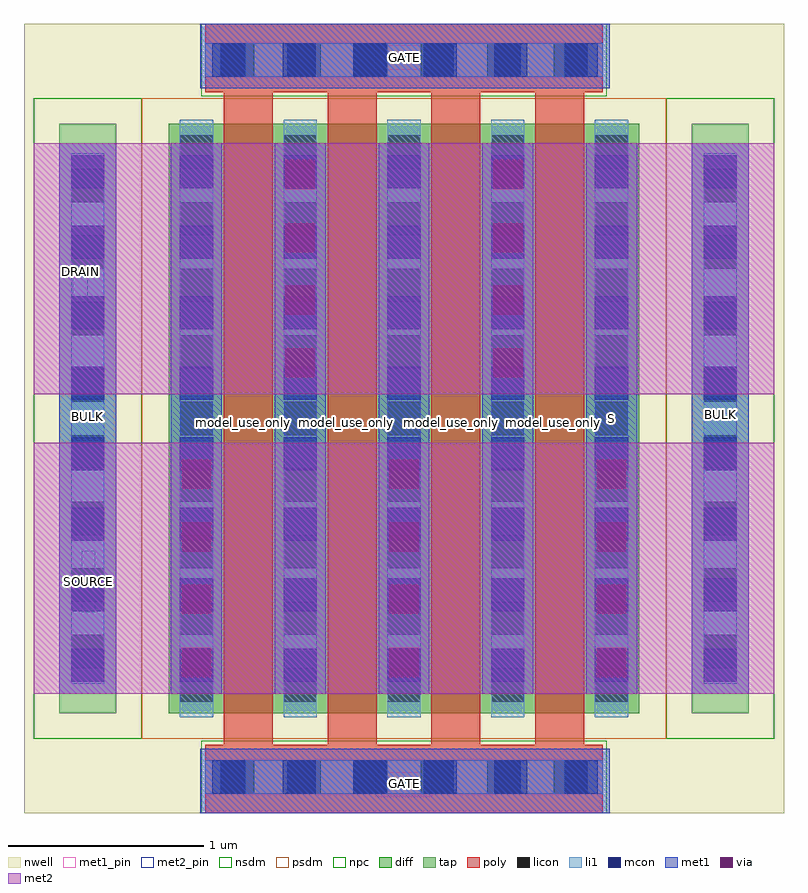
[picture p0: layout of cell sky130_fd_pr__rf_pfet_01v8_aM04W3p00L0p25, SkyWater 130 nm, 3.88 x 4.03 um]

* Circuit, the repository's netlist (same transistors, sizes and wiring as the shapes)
* Copyright 2020 The SkyWater PDK Authors
*
* Licensed under the Apache License, Version 2.0 (the "License");
* you may not use this file except in compliance with the License.
* You may obtain a copy of the License at
*
*     https://www.apache.org/licenses/LICENSE-2.0
*
* Unless required by applicable law or agreed to in writing, software
* distributed under the License is distributed on an "AS IS" BASIS,
* WITHOUT WARRANTIES OR CONDITIONS OF ANY KIND, either express or implied.
* See the License for the specific language governing permissions and
* limitations under the License.
*
* SPDX-License-Identifier: Apache-2.0


.subckt sky130_fd_pr__rf_pfet_01v8_aM04W3p00L0p25 BULK DRAIN GATE SOURCE
X0 SOURCE GATE DRAIN BULK sky130_fd_pr__pfet_01v8 w=3.01e+06u l=250000u
X1 SOURCE GATE DRAIN BULK sky130_fd_pr__pfet_01v8 w=3.01e+06u l=250000u
X2 DRAIN GATE SOURCE BULK sky130_fd_pr__pfet_01v8 w=3.01e+06u l=250000u
X3 DRAIN GATE SOURCE BULK sky130_fd_pr__pfet_01v8 w=3.01e+06u l=250000u
.ends

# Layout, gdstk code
import gdstk
lib = gdstk.Library(unit=1e-6, precision=1e-09)
def R(c, l, rs):  # rectangles x0, y0, x1, y1
    for r in rs: c.add(gdstk.rectangle(r[:2], r[2:], *l))
def A(c, l, x, y, w, h, nx, ny, dx, dy):  # array of equal rectangles
    R(c, l, [(x+i*dx, y+j*dy, x+i*dx+w, y+j*dy+h) for i in range(nx) for j in range(ny)])
nwell = (64, 20)
diff = (65, 20)
tap = (65, 44)
poly = (66, 20)
licon = (66, 44)
li1 = (67, 20)
mcon = (67, 44)
met1_pin = (68, 16)
met1 = (68, 20)
via = (68, 44)
met2_pin = (69, 16)
met2 = (69, 20)
nsdm = (93, 44)
psdm = (94, 20)
npc = (95, 20)

sky130_fd_pr__rf_pfet_01 = lib.new_cell('sky130_fd_pr__rf_pfet_01v8_aM04W3p00L0p25')
R(sky130_fd_pr__rf_pfet_01, nwell, [(0,0,3.88,4.03)])
R(sky130_fd_pr__rf_pfet_01, diff, [(0.74,0.51,3.14,3.52)])
R(sky130_fd_pr__rf_pfet_01, tap, [(0.18,0.51,0.47,3.52), (3.41,0.51,3.7,3.52)])
A(sky130_fd_pr__rf_pfet_01, poly, 1.02, 0.35, 0.25, 3.33, 4, 1, 0.53, 0)
R(sky130_fd_pr__rf_pfet_01, poly, [(0.925,0,2.955,0.35), (0.925,3.68,2.955,4.03)])
A(sky130_fd_pr__rf_pfet_01, licon, 1.005, 0.1, 0.17, 0.17, 6, 2, 0.34, 3.66)
A(sky130_fd_pr__rf_pfet_01, licon, 0.795, 0.57, 0.17, 0.17, 5, 9, 0.53, 0.34)
A(sky130_fd_pr__rf_pfet_01, licon, 0.24, 0.74, 0.17, 0.17, 1, 8, 0, 0.34)
A(sky130_fd_pr__rf_pfet_01, licon, 3.47, 0.74, 0.17, 0.17, 1, 8, 0, 0.34)
A(sky130_fd_pr__rf_pfet_01, li1, 0.795, 0.49, 0.17, 3.05, 5, 1, 0.53, 0)
A(sky130_fd_pr__rf_pfet_01, li1, 0.795, 0.67, 0.17, 2.69, 5, 1, 0.53, 0)
R(sky130_fd_pr__rf_pfet_01, li1, [(0.925,0.1,2.955,0.27), (0.96,0.1,2.93,0.27), (0.24,0.66,0.41,3.37), (3.47,0.66,3.64,3.37), (0.24,0.67,0.41,3.36), (3.47,0.67,3.64,3.36), (0.925,3.76,2.955,3.93), (0.96,3.76,2.93,3.93)])
A(sky130_fd_pr__rf_pfet_01, mcon, 0.96, 0.1, 0.17, 0.17, 6, 2, 0.36, 3.66)
A(sky130_fd_pr__rf_pfet_01, mcon, 0.24, 0.67, 0.17, 0.17, 1, 8, 0, 0.36)
A(sky130_fd_pr__rf_pfet_01, mcon, 0.795, 0.67, 0.17, 0.17, 5, 8, 0.53, 0.36)
A(sky130_fd_pr__rf_pfet_01, mcon, 3.47, 0.67, 0.17, 0.17, 1, 8, 0, 0.36)
R(sky130_fd_pr__rf_pfet_01, met1_pin, [(1.795,0.085,2.085,0.21), (0.24,1.995,0.41,2.05), (3.47,2.005,3.64,2.06), (1.795,3.795,2.085,3.92)])
A(sky130_fd_pr__rf_pfet_01, met1, 0.75, 0.61, 0.26, 1.28, 3, 1, 1.06, 0)
A(sky130_fd_pr__rf_pfet_01, met1, 0.75, 0.61, 0.26, 2.81, 5, 1, 0.53, 0)
R(sky130_fd_pr__rf_pfet_01, met1, [(0.9,0,2.99,0.33), (0.18,0.61,0.47,3.42), (3.41,0.61,3.7,3.42), (1.28,2.14,1.54,3.42), (2.34,2.14,2.6,3.42), (0.9,3.7,2.99,4.03)])
A(sky130_fd_pr__rf_pfet_01, via, 0.805, 0.695, 0.15, 0.15, 3, 4, 1.06, 0.32)
A(sky130_fd_pr__rf_pfet_01, via, 1.335, 2.225, 0.15, 0.15, 1, 4, 0, 0.32)
A(sky130_fd_pr__rf_pfet_01, via, 2.395, 2.225, 0.15, 0.15, 1, 4, 0, 0.32)
R(sky130_fd_pr__rf_pfet_01, met2_pin, [(0.295,1.025,0.365,1.34), (0.25,2.6,0.325,2.93)])
A(sky130_fd_pr__rf_pfet_01, met2, 0.75, 0.61, 0.26, 1.28, 3, 1, 1.06, 0)
R(sky130_fd_pr__rf_pfet_01, met2, [(0.05,0.61,3.83,1.89), (0.05,2.14,3.83,3.42), (1.28,2.14,1.54,3.42), (2.34,2.14,2.6,3.42)])
R(sky130_fd_pr__rf_pfet_01, nsdm, [(0.05,0.38,0.6,3.65), (3.28,0.38,3.83,3.65)])
R(sky130_fd_pr__rf_pfet_01, psdm, [(0.6,0.38,3.28,3.65)])
R(sky130_fd_pr__rf_pfet_01, npc, [(0.905,0,2.975,0.37), (0.905,3.66,2.975,4.03)])
sky130_fd_pr__rf_pfet_01.add(gdstk.Label('model_use_only', (1.12,1.995), layer=66, texttype=83))
sky130_fd_pr__rf_pfet_01.add(gdstk.Label('model_use_only', (1.645,1.995), layer=66, texttype=83))
sky130_fd_pr__rf_pfet_01.add(gdstk.Label('model_use_only', (2.185,1.995), layer=66, texttype=83))
sky130_fd_pr__rf_pfet_01.add(gdstk.Label('model_use_only', (2.705,1.995), layer=66, texttype=83))
sky130_fd_pr__rf_pfet_01.add(gdstk.Label('S', (0.88,2.015), layer=83, texttype=44))
sky130_fd_pr__rf_pfet_01.add(gdstk.Label('S', (0.88,2.015), layer=83, texttype=44))
sky130_fd_pr__rf_pfet_01.add(gdstk.Label('S', (1.41,2.015), layer=83, texttype=44))
sky130_fd_pr__rf_pfet_01.add(gdstk.Label('D', (1.41,2.015), layer=83, texttype=44))
sky130_fd_pr__rf_pfet_01.add(gdstk.Label('S', (1.94,2.015), layer=83, texttype=44))
sky130_fd_pr__rf_pfet_01.add(gdstk.Label('S', (1.94,2.015), layer=83, texttype=44))
sky130_fd_pr__rf_pfet_01.add(gdstk.Label('S', (2.47,2.015), layer=83, texttype=44))
sky130_fd_pr__rf_pfet_01.add(gdstk.Label('D', (2.47,2.015), layer=83, texttype=44))
sky130_fd_pr__rf_pfet_01.add(gdstk.Label('S', (3,2.015), layer=83, texttype=44))
sky130_fd_pr__rf_pfet_01.add(gdstk.Label('BULK', (3.555,2.035), layer=68, texttype=5))
sky130_fd_pr__rf_pfet_01.add(gdstk.Label('GATE', (1.94,3.86), layer=68, texttype=5))
sky130_fd_pr__rf_pfet_01.add(gdstk.Label('GATE', (1.94,0.15), layer=68, texttype=5))
sky130_fd_pr__rf_pfet_01.add(gdstk.Label('BULK', (0.325,2.025), layer=68, texttype=5))
sky130_fd_pr__rf_pfet_01.add(gdstk.Label('DRAIN', (0.29,2.765), layer=69, texttype=5))
sky130_fd_pr__rf_pfet_01.add(gdstk.Label('SOURCE', (0.33,1.185), layer=69, texttype=5))

lib.write_gds('sky130_fd_pr__rf_pfet_01v8_aM04W3p00L0p25.gds')
